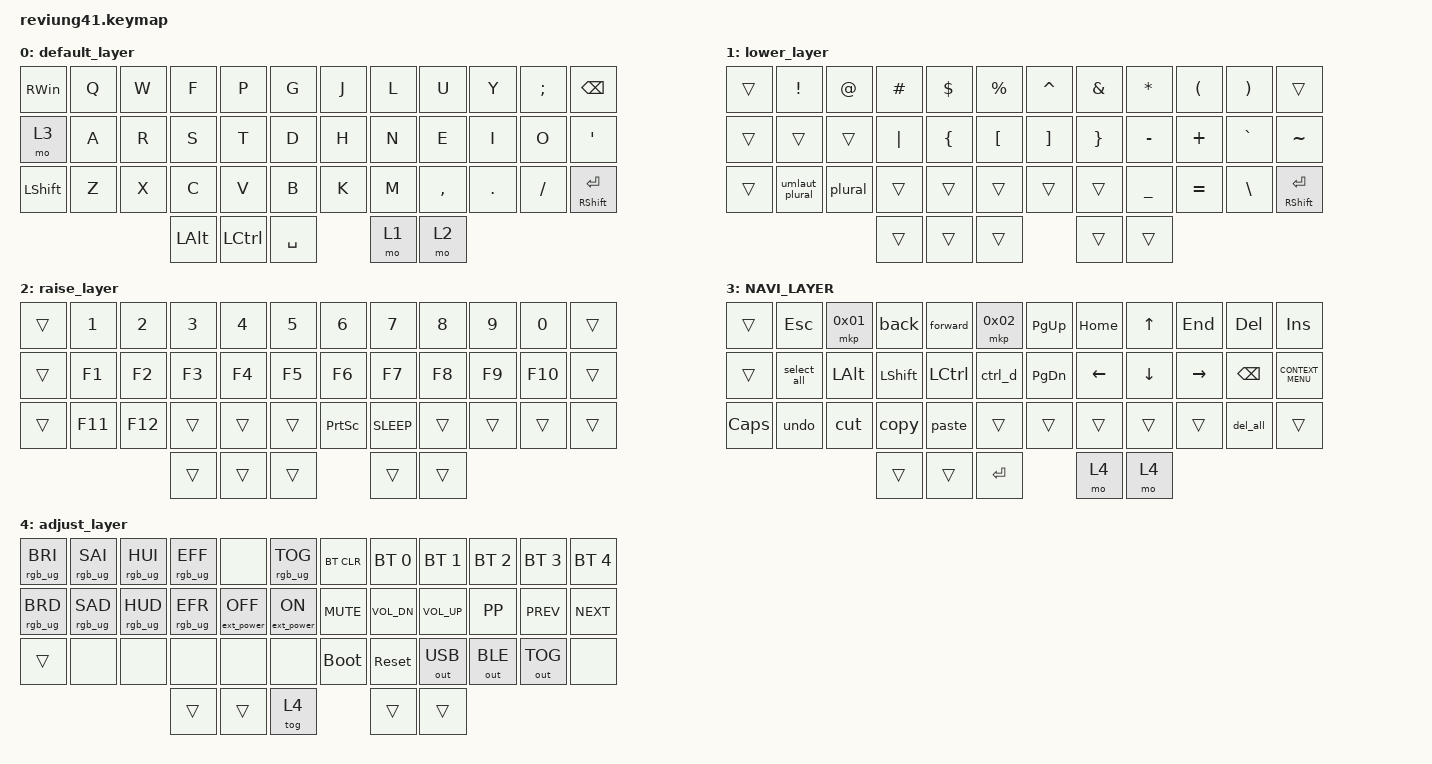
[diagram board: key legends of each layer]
/*
 * Copyright (c) 2020 The ZMK Contributors
 *
 * SPDX-License-Identifier: MIT
 */

#include <behaviors.dtsi>
#include <dt-bindings/zmk/bt.h>
#include <dt-bindings/zmk/ext_power.h>
#include <dt-bindings/zmk/keys.h>
#include <dt-bindings/zmk/outputs.h>
#include <dt-bindings/zmk/rgb.h>

/ {
    macros {
        back: back {
            compatible = "zmk,behavior-macro";
            label = "back";
            #binding-cells = <0>;
            wait-ms = <10>;
            tap-ms = <10>;
            bindings =
                <&macro_press>,
                <&kp LEFT_ALT>,
                <&macro_tap>,
                <&kp LEFT>,
                <&macro_release>,
                <&kp LEFT_ALT>;
        };

        forward: forward {
            compatible = "zmk,behavior-macro";
            label = "forward";
            #binding-cells = <0>;
            wait-ms = <10>;
            tap-ms = <10>;
            bindings =
                <&macro_press>,
                <&kp LEFT_ALT>,
                <&macro_tap>,
                <&kp RIGHT>,
                <&macro_release>,
                <&kp LEFT_ALT>;
        };

        umlaut: umlaut {
            compatible = "zmk,behavior-macro";
            label = "umlaut";
            #binding-cells = <0>;
            wait-ms = <10>;
            tap-ms = <10>;
            bindings = <&macro_tap>, <&kp RIGHT_ALT &kp DOUBLE_QUOTES>;
        };

        del_all: del_all {
            compatible = "zmk,behavior-macro";
            label = "del_all";
            #binding-cells = <0>;
            wait-ms = <10>;
            tap-ms = <10>;
            bindings =
                <&macro_press>,
                <&kp LCTRL>,
                <&macro_tap>,
                <&kp A>,
                <&macro_release>,
                <&kp LCTRL>,
                <&macro_tap>,
                <&kp BACKSPACE>;
        };

        undo: undo {
            compatible = "zmk,behavior-macro";
            label = "undo";
            #binding-cells = <0>;
            wait-ms = <10>;
            tap-ms = <10>;
            bindings =
                <&macro_press>,
                <&kp LCTRL>,
                <&macro_tap>,
                <&kp Z>,
                <&macro_release>,
                <&kp LCTRL>;
        };

        cut: cut {
            compatible = "zmk,behavior-macro";
            label = "cut";
            #binding-cells = <0>;
            wait-ms = <10>;
            tap-ms = <10>;
            bindings =
                <&macro_press>,
                <&kp LCTRL>,
                <&macro_tap>,
                <&kp X>,
                <&macro_release>,
                <&kp LCTRL>;
        };

        copy: copy {
            compatible = "zmk,behavior-macro";
            label = "copy";
            #binding-cells = <0>;
            wait-ms = <10>;
            tap-ms = <10>;
            bindings =
                <&macro_press>,
                <&kp LCTRL>,
                <&macro_tap>,
                <&kp C>,
                <&macro_release>,
                <&kp LCTRL>;
        };

        paste: paste {
            compatible = "zmk,behavior-macro";
            label = "paste";
            #binding-cells = <0>;
            wait-ms = <10>;
            tap-ms = <10>;
            bindings =
                <&macro_press>,
                <&kp LCTRL>,
                <&macro_tap>,
                <&kp V>,
                <&macro_release>,
                <&kp LCTRL>;
        };

        ctrl_d: ctrl_d {
            compatible = "zmk,behavior-macro";
            label = "ctrl_d";
            #binding-cells = <0>;
            wait-ms = <10>;
            tap-ms = <10>;
            bindings =
                <&macro_press>,
                <&kp LCTRL>,
                <&macro_tap>,
                <&kp D>,
                <&macro_release>,
                <&kp LCTRL>;
        };

        select_all: select_all {
            compatible = "zmk,behavior-macro";
            label = "select_all";
            #binding-cells = <0>;
            wait-ms = <10>;
            tap-ms = <10>;
            bindings =
                <&macro_press>,
                <&kp LCTRL>,
                <&macro_tap>,
                <&kp A>,
                <&macro_release>,
                <&kp LCTRL>;
        };

        plural: plural {
            compatible = "zmk,behavior-macro";
            label = "new_macro";
            #binding-cells = <0>;
            bindings = <&macro_tap>, <&kp COMMA &kp SPACE &kp MINUS>;

            tap-ms = <5>;
            wait-ms = <5>;
        };

        umlaut_plural: umlaut_plural {
            compatible = "zmk,behavior-macro";
            label = "new_macro";
            #binding-cells = <0>;
            bindings =
                <&macro_tap>,
                <&kp COMMA &kp SPACE &kp DOUBLE_QUOTES &kp MINUS>;

            tap-ms = <5>;
            wait-ms = <5>;
        };
    };

    combos {
        compatible = "zmk,combos";

        qw_tab {
            bindings = <&kp TAB>;
            key-positions = <3 4>;
        };

        o_apostrophe_umlaut {
            bindings = <&umlaut>;
            key-positions = <22 34>;
        };

        ralt {
            bindings = <&kp RIGHT_ALT>;
            key-positions = <35 23>;
        };
    };

    keymap {
        compatible = "zmk,keymap";

        default_layer {
            // -------------------------------------------------------------------------------------
            // |  TAB |  Q  |  W  |  F  |  P  |  G  |   |  J  |  L   |  U  |  Y  |  ;  |   BKSP    |
            // | CTRL |  A  |  R  |  S  |  T  |  D  |   |  H  |  N   |  E  |  I  |  O  |    '      |
            // | SHFT |  Z  |  X  |  C  |  V  |  B  |   |  K  |  M   |  ,  |  .  |  /  | SHFT(RET) |
            //                         | ALT | LWR | SPC | RSE  | ALT |

            bindings = <
&kp RIGHT_WIN  &kp Q  &kp W  &kp F     &kp P             &kp G             &kp J  &kp L  &kp U      &kp Y    &kp SEMI  &kp BACKSPACE
&mo 3          &kp A  &kp R  &kp S     &kp T             &kp D             &kp H  &kp N  &kp E      &kp I    &kp O     &kp SQT
&kp LSHFT      &kp Z  &kp X  &kp C     &kp V             &kp B             &kp K  &kp M  &kp COMMA  &kp DOT  &kp FSLH  &mt RSHFT RET
                             &kp LALT  &kp LEFT_CONTROL         &kp SPACE         &mo 1  &mo 2
            >;
        };

        lower_layer {
            // ----------------------------------------------------------------------------------
            // |    |  !  |  @  |  #  |  $  |  %  |   |  ^  |  &  |  *  |  (  |  )  |    DEL    |
            // |    |  _  |  +  |  {  |  }  | "|" |   | LFT | DWN |  UP | RGT |  `  |     ~     |
            // |    | ESC | GUI | ALT | CAPS|  "  |   | HOME| END | PGUP| PGDN| PRSC| SHFT(RET) |
            //                       |     |     | RET | ADJ |     |

            bindings = <
&trans  &kp EXCL        &kp AT   &kp HASH  &kp DLLR        &kp PRCNT                 &kp CARET          &kp AMPS         &kp ASTERISK    &kp LPAR   &kp RPAR       &trans
&trans  &trans          &trans   &kp PIPE  &kp LEFT_BRACE  &kp LEFT_BRACKET          &kp RIGHT_BRACKET  &kp RIGHT_BRACE  &kp MINUS       &kp PLUS   &kp GRAVE      &kp TILDE
&trans  &umlaut_plural  &plural  &trans    &trans          &trans                    &trans             &trans           &kp UNDERSCORE  &kp EQUAL  &kp BACKSLASH  &mt RSHFT RET
                                 &trans    &trans                            &trans                     &trans           &trans
            >;
        };

        raise_layer {
            // -----------------------------------------------------------------------------------------
            // |    |  1  |  2  |  3  |  4  |  5  |   |  6  |  7  |  8  |  9  |  0  | DEL |
            // |    |  -  |  =  |  [  |  ]  |  \  |   | F1  | F2  | F3  | F4  | F5  | F6  |
            // |    | ESC | GUI | ALT | CAPS|  "  |   | F7  | F8  | F9  | F10 | F11 | F12 |
            //                       |     | ADJ | BKSP |    |     |

            bindings = <
&trans  &kp N1   &kp N2   &kp N3  &kp N4  &kp N5          &kp N6           &kp N7       &kp N8  &kp N9  &kp N0   &trans
&trans  &kp F1   &kp F2   &kp F3  &kp F4  &kp F5          &kp F6           &kp F7       &kp F8  &kp F9  &kp F10  &trans
&trans  &kp F11  &kp F12  &trans  &trans  &trans          &kp PRINTSCREEN  &kp K_SLEEP  &trans  &trans  &trans   &trans
                          &trans  &trans          &trans                   &trans       &trans
            >;
        };

        NAVI_LAYER {
            bindings = <
&trans        &kp ESC      &mkp 0x01     &back           &forward   &mkp 0x02           &kp PAGE_UP    &kp HOME  &kp UP    &kp END    &kp DEL        &kp INSERT
&trans        &select_all  &kp LEFT_ALT  &kp LEFT_SHIFT  &kp LCTRL  &ctrl_d             &kp PAGE_DOWN  &kp LEFT  &kp DOWN  &kp RIGHT  &kp BACKSPACE  &kp K_CONTEXT_MENU
&kp CAPSLOCK  &undo        &cut          &copy           &paste     &trans              &trans         &trans    &trans    &trans     &del_all       &trans
                                         &trans          &trans                &kp RET                 &mo 4     &mo 4
            >;
        };

        adjust_layer {
            // -----------------------------------------------------------------------------------------
            // | RGB BRI+ | RGB SAT+ | RGB HUE+ | RGB ANI+ |    | RGB TOG |   |  BT1  | BT2 | BT3 | BT4 | BT5 | BT CLR |
            // | RGB BRI- | RGB SAT- | RGB HUE- | RGB ANI- |    |         |   |       |     |     |     |     |        |
            // |          |          |          |          |    |         |   | RESET |     |     |     |     |        |
            //                                              |     |     |     |     |     |

            bindings = <
&rgb_ug RGB_BRI  &rgb_ug RGB_SAI  &rgb_ug RGB_HUI  &rgb_ug RGB_EFF  &none              &rgb_ug RGB_TOG           &bt BT_CLR   &bt BT_SEL 0  &bt BT_SEL 1  &bt BT_SEL 2  &bt BT_SEL 3  &bt BT_SEL 4
&rgb_ug RGB_BRD  &rgb_ug RGB_SAD  &rgb_ug RGB_HUD  &rgb_ug RGB_EFR  &ext_power EP_OFF  &ext_power EP_ON          &kp K_MUTE   &kp K_VOL_DN  &kp K_VOL_UP  &kp K_PP      &kp K_PREV    &kp K_NEXT
&trans           &none            &none            &none            &none              &none                     &bootloader  &sys_reset    &out OUT_USB  &out OUT_BLE  &out OUT_TOG  &none
                                                   &trans           &trans                               &tog 4               &trans        &trans
            >;
        };
    };
};
